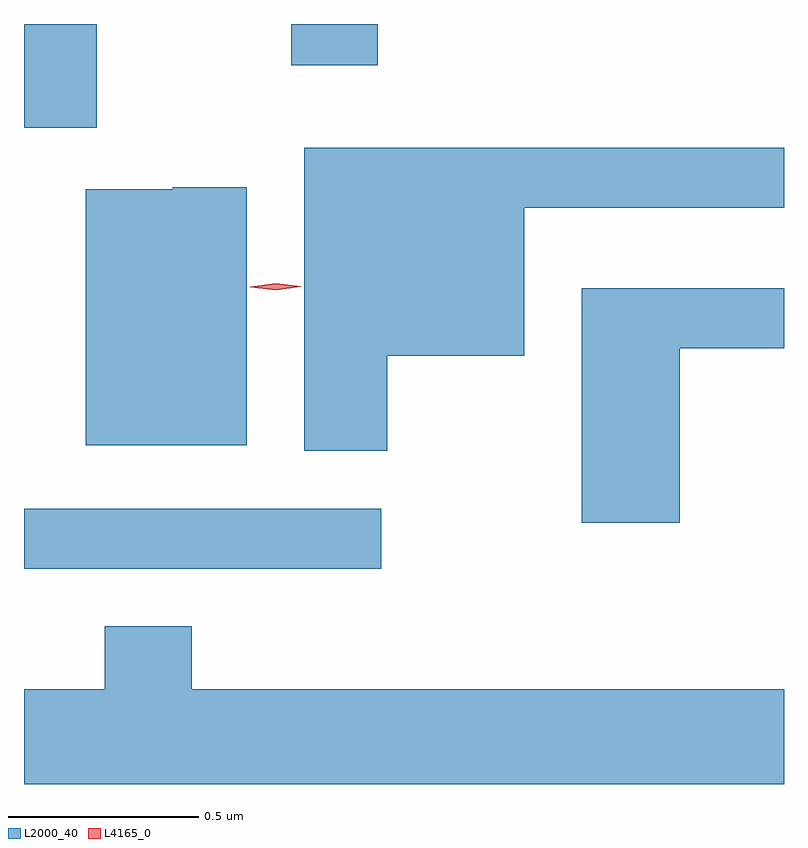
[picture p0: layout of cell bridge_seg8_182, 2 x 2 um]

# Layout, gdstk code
import gdstk
lib = gdstk.Library(unit=1e-6, precision=1e-09)
def R(c, l, rs):  # rectangles x0, y0, x1, y1
    for r in rs: c.add(gdstk.rectangle(r[:2], r[2:], *l))
def P(c, l, *ps):  # polygons
    for p in ps: c.add(gdstk.Polygon(p, *l))
L2000_40 = (2000, 40)
L4165_0 = (4165, 0)

bridge_seg8_182 = lib.new_cell('bridge_seg8_182')
R(bridge_seg8_182, L2000_40, [(1300.858,1908.041,1301.798,1908.199), (1300.858,1909.201,1301.049,1909.474), (1301.561,1909.366,1301.789,1909.474)])
P(bridge_seg8_182, L2000_40, [(1301.814,1908.601),(1302.174,1908.601),(1302.174,1908.991),(1302.858,1908.991),(1302.858,1909.149),(1301.596,1909.149),(1301.596,1908.351),(1301.814,1908.351)],
  [(1301.444,1909.044),(1301.25,1909.044),(1301.25,1909.039),(1301.021,1909.039),(1301.021,1908.366),(1301.444,1908.366)],
  [(1302.584,1908.621),(1302.858,1908.621),(1302.858,1908.779),(1302.326,1908.779),(1302.326,1908.161),(1302.584,1908.161)],
  [(1302.858,1907.724),(1301.299,1907.724),(1301.299,1907.889),(1301.071,1907.889),(1301.071,1907.724),(1300.858,1907.724),(1300.858,1907.474),(1302.858,1907.474)])
P(bridge_seg8_182, L4165_0, [(1301.52,1908.773),(1301.454,1908.781),(1301.454,1908.782),(1301.454,1908.782),(1301.52,1908.792),(1301.586,1908.784),(1301.586,1908.783),(1301.586,1908.783)])

lib.write_gds('bridge_seg8_182.gds')
